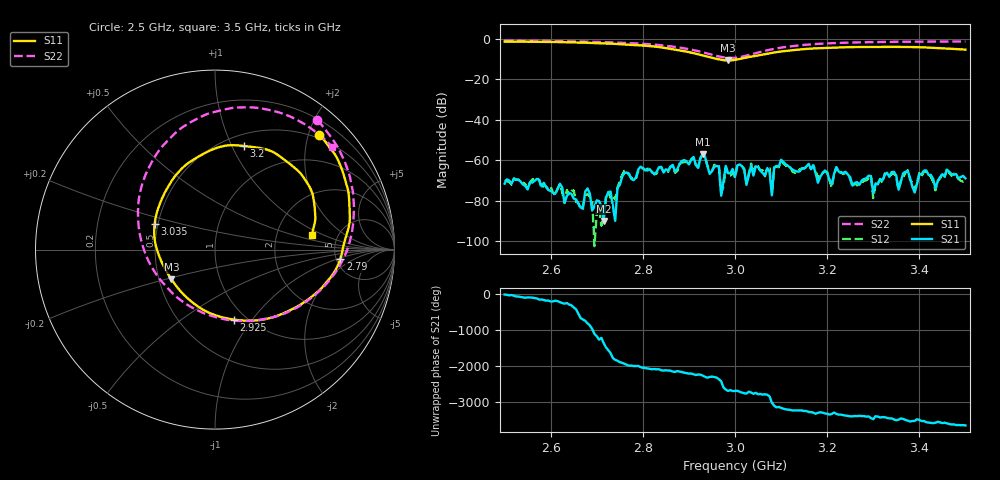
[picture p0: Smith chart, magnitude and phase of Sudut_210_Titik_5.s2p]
# Hz S RI R 50
! CMT, C1220, 16058040, 17.2.0/1
! Date: 15/08/2018 10:25:56
! Data: Format (Calibration Info)
! Freq  S11: Re/Im (F2)  S21: Re/Im (F2)  S12: Re/Im (F2)  S22: Re/Im (F2)
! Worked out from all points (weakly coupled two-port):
!   201 points, 2.5 GHz to 3.5 GHz, reference 50 ohm
!   highest |S21| = -56.98 dB at 2.93 GHz (marker M1); lowest = -90.0 dB at 2.715 GHz (marker M2)
!   lowest |S11| = -10.6 dB at 2.985 GHz (marker M3), VSWR 1.83, Z = 29.1 - j10.5 ohm
!   |S11| at or under -10 dB: 2.963 GHz to 3.007 GHz (44.09 MHz wide, 1.48 % of centre)
!   |S22| runs from -9.4 to -0.7 dB; largest |S21 - S12| = 0.00015
!   S11 on the Smith chart (normalised r, x): 2.5 GHz: 0.43, +2.19; 2.79 GHz: 5.42, -1.13; 2.925 GHz: 0.88, -0.81; 3.035 GHz: 0.48, +0.16; 3.2 GHz: 0.62, +1.11; 3.5 GHz: 3.21, +0.73
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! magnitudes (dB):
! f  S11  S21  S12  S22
! 2.5 GHz  -1.3  -71.5  -69.7  -0.7
! 2.67 GHz  -1.8  -83.9  -82.4  -1.3
! 2.715 GHz  -2.2  -90.0  -87.7  -1.5
! 2.79 GHz  -3.1  -64.6  -65.4  -2.2
! 2.835 GHz  -4.0  -63.4  -63.6  -3.0
! 2.925 GHz  -7.9  -58.7  -59.0  -6.3
! 2.93 GHz  -8.2  -57.0  -57.1  -6.6
! 2.965 GHz  -10.1  -63.0  -62.8  -8.6
! 2.97 GHz  -10.3  -77.5  -76.0  -8.9
! 2.985 GHz  -10.6  -66.4  -67.2  -9.3
! 3 GHz  -10.3  -68.2  -68.5  -9.4
! 3.035 GHz  -8.7  -62.6  -61.6  -7.6
! 3.075 GHz  -7.1  -65.5  -63.8  -5.3
! 3.08 GHz  -6.9  -77.3  -76.2  -5.1
! 3.085 GHz  -6.7  -63.5  -63.7  -4.9
! 3.1 GHz  -6.2  -59.7  -60.1  -4.3
! 3.17 GHz  -4.7  -62.6  -62.4  -2.6
! 3.2 GHz  -4.4  -66.1  -65.7  -2.2
! 3.295 GHz  -4.0  -67.8  -67.9  -1.5
! 3.3 GHz  -4.0  -76.2  -78.6  -1.5
! 3.335 GHz  -3.9  -68.2  -67.7  -1.4
! 3.5 GHz  -5.3  -68.9  -70.0  -1.2
